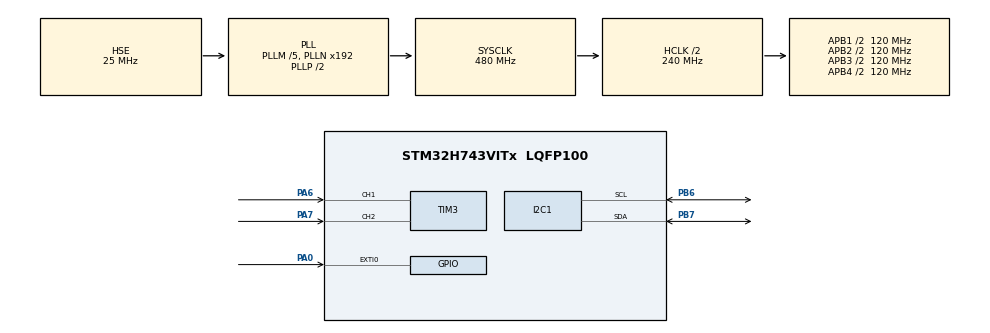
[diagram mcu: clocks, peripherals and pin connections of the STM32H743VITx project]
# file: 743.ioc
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I2C1.Timing=0x307075B1
Mcu.Family=STM32H7
Mcu.Name=STM32H743VITx
Mcu.Package=LQFP100
NVIC.EXTI0_IRQn=true\:7\:0\:true\:false\:true\:true\:true\:true
NVIC.PriorityGroup=NVIC_PRIORITYGROUP_4
NVIC.TIM3_IRQn=true\:0\:0\:true\:false\:true\:true\:true\:true
PA0.GPIO_PuPd=GPIO_PULLUP
PA0.Signal=GPXTI0
PA6.Signal=S_TIM3_CH1
PA7.Signal=S_TIM3_CH2
PB6.Mode=I2C
PB6.Signal=I2C1_SCL
PB7.Mode=I2C
PB7.Signal=I2C1_SDA
PH0-OSC_IN\ (PH0).Mode=HSE-External-Oscillator
PH0-OSC_IN\ (PH0).Signal=RCC_OSC_IN
PH1-OSC_OUT\ (PH1).Mode=HSE-External-Oscillator
PH1-OSC_OUT\ (PH1).Signal=RCC_OSC_OUT
ProjectManager.HeapSize=0x200
ProjectManager.StackSize=0x400
ProjectManager.TargetToolchain=STM32CubeIDE
RCC.ADCFreq_Value=50390625
RCC.APB1Freq_Value=120000000
RCC.APB2Freq_Value=120000000
RCC.APB3Freq_Value=120000000
RCC.APB4Freq_Value=120000000
RCC.CortexFreq_Value=480000000
RCC.D1PPRE=RCC_APB3_DIV2
RCC.D2PPRE1=RCC_APB1_DIV2
RCC.D2PPRE2=RCC_APB2_DIV2
RCC.D3PPRE=RCC_APB4_DIV2
RCC.DIVM1=5
RCC.DIVN1=192
RCC.HCLKFreq_Value=240000000
RCC.HPRE=RCC_HCLK_DIV2
RCC.PLLFRACN=0
RCC.PLLSourceVirtual=RCC_PLLSOURCE_HSE
RCC.SYSCLKFreq_VALUE=480000000
RCC.SYSCLKSource=RCC_SYSCLKSOURCE_PLLCLK
RCC.USBFreq_Value=480000000
SH.S_TIM3_CH1.0=TIM3_CH1,Encoder_Interface
SH.S_TIM3_CH2.0=TIM3_CH2,Encoder_Interface
TIM3.AutoReloadPreload=TIM_AUTORELOAD_PRELOAD_ENABLE
TIM3.EncoderMode=TIM_ENCODERMODE_TI12
TIM3.IC1Filter=10
TIM3.IC2Filter=10
board=custom

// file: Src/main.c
/* USER CODE BEGIN Header */
/**
  ******************************************************************************
  * @file           : main.c
  * @brief          : Main program body
  ******************************************************************************
  * @attention
  *
  * Copyright (c) 2022 STMicroelectronics.
  * All rights reserved.
  *
  * This software is licensed under terms that can be found in the LICENSE file
  * in the root directory of this software component.
  * If no LICENSE file comes with this software, it is provided AS-IS.
  *
  ******************************************************************************
  */
/* USER CODE END Header */
#include "main.h"

/* USER CODE BEGIN Includes */
#include "ssd1306.h"
#include "ssd1306_fonts.h"
#include "si5351.h"
/* USER CODE END Includes */

/* USER CODE BEGIN PD */
#define f_min       6950000      // change to suit
#define f_max       7250000

volatile uint32_t	count1=0;
volatile uint32_t	count2=0;
volatile uint8_t 	flag =0;
volatile uint32_t	vfo = 7030000  ; 	//start freq - change to suit
volatile uint32_t	radix = 100;  		//start step size - change to suit
const	 uint32_t	BW = 2400;			//Change to suit
const	 uint32_t	IF = 12000000;		//Xtal value
const	 uint32_t	bfo=IF-(BW/2);
const 	 int32_t 	correction = 978;	//Adjust with frequency meter for sure.
/* USER CODE END PD */

I2C_HandleTypeDef hi2c1;

TIM_HandleTypeDef htim3;

void SystemClock_Config(void);
static void MX_GPIO_Init(void);
static void MX_I2C1_Init(void);
static void MX_TIM3_Init(void);
/* USER CODE BEGIN PFP */
void HAL_TIM_IC_CaptureCallback(TIM_HandleTypeDef *htim); 		//TIM3 Interupt handler for encoder
void HAL_GPIO_EXTI_Callback(uint16_t GPIO_Pin);					//Interupt handler for Radix (encoder switch)

void display_init(); 		//OLED SSD1306 init & some ugly text :)
void display_radix(); 		//Radix 1Hz, 10HZ,...100KHz
void display_frequency(); 	//Special for display frequency
void Init_Si5351();  		//Init Si5351 & set default frequency for first time
/* USER CODE END PFP */

int main(void)
{

  /* MCU Configuration--------------------------------------------------------*/

  /* Reset of all peripherals, Initializes the Flash interface and the Systick. */
  HAL_Init();

  /* Configure the system clock */
  SystemClock_Config();

  /* Initialize all configured peripherals */
  MX_GPIO_Init();
  MX_I2C1_Init();
  MX_TIM3_Init();
  /* USER CODE BEGIN 2 */
  display_init();
   display_frequency();
   HAL_Delay(100);
   HAL_TIM_Encoder_Start_IT(&htim3, TIM_CHANNEL_ALL); //Start TIM Encoder interupt so the encoder can work
   Init_Si5351();
  /* USER CODE END 2 */

  /* Infinite loop */
  while (1)
  {

  }
}

void SystemClock_Config(void)
{
  RCC_OscInitTypeDef RCC_OscInitStruct = {0};
  RCC_ClkInitTypeDef RCC_ClkInitStruct = {0};

  /** Supply configuration update enable
  */
  HAL_PWREx_ConfigSupply(PWR_LDO_SUPPLY);

  /** Configure the main internal regulator output voltage
  */
  __HAL_PWR_VOLTAGESCALING_CONFIG(PWR_REGULATOR_VOLTAGE_SCALE1);

  while(!__HAL_PWR_GET_FLAG(PWR_FLAG_VOSRDY)) {}

  __HAL_RCC_SYSCFG_CLK_ENABLE();
  __HAL_PWR_VOLTAGESCALING_CONFIG(PWR_REGULATOR_VOLTAGE_SCALE0);

  while(!__HAL_PWR_GET_FLAG(PWR_FLAG_VOSRDY)) {}

  /** Initializes the RCC Oscillators according to the specified parameters
  * in the RCC_OscInitTypeDef structure.
  */
  RCC_OscInitStruct.OscillatorType = RCC_OSCILLATORTYPE_HSE;
  RCC_OscInitStruct.HSEState = RCC_HSE_ON;
  RCC_OscInitStruct.PLL.PLLState = RCC_PLL_ON;
  RCC_OscInitStruct.PLL.PLLSource = RCC_PLLSOURCE_HSE;
  RCC_OscInitStruct.PLL.PLLM = 5;
  RCC_OscInitStruct.PLL.PLLN = 192;
  RCC_OscInitStruct.PLL.PLLP = 2;
  RCC_OscInitStruct.PLL.PLLQ = 2;
  RCC_OscInitStruct.PLL.PLLR = 2;
  RCC_OscInitStruct.PLL.PLLRGE = RCC_PLL1VCIRANGE_2;
  RCC_OscInitStruct.PLL.PLLVCOSEL = RCC_PLL1VCOWIDE;
  RCC_OscInitStruct.PLL.PLLFRACN = 0;
  if (HAL_RCC_OscConfig(&RCC_OscInitStruct) != HAL_OK)
  {
    Error_Handler();
  }

  /** Initializes the CPU, AHB and APB buses clocks
  */
  RCC_ClkInitStruct.ClockType = RCC_CLOCKTYPE_HCLK|RCC_CLOCKTYPE_SYSCLK
                              |RCC_CLOCKTYPE_PCLK1|RCC_CLOCKTYPE_PCLK2
                              |RCC_CLOCKTYPE_D3PCLK1|RCC_CLOCKTYPE_D1PCLK1;
  RCC_ClkInitStruct.SYSCLKSource = RCC_SYSCLKSOURCE_PLLCLK;
  RCC_ClkInitStruct.SYSCLKDivider = RCC_SYSCLK_DIV1;
  RCC_ClkInitStruct.AHBCLKDivider = RCC_HCLK_DIV2;
  RCC_ClkInitStruct.APB3CLKDivider = RCC_APB3_DIV2;
  RCC_ClkInitStruct.APB1CLKDivider = RCC_APB1_DIV2;
  RCC_ClkInitStruct.APB2CLKDivider = RCC_APB2_DIV2;
  RCC_ClkInitStruct.APB4CLKDivider = RCC_APB4_DIV2;

  if (HAL_RCC_ClockConfig(&RCC_ClkInitStruct, FLASH_LATENCY_4) != HAL_OK)
  {
    Error_Handler();
  }
}

static void MX_I2C1_Init(void)
{

  hi2c1.Instance = I2C1;
  hi2c1.Init.Timing = 0x307075B1;
  hi2c1.Init.OwnAddress1 = 0;
  hi2c1.Init.AddressingMode = I2C_ADDRESSINGMODE_7BIT;
  hi2c1.Init.DualAddressMode = I2C_DUALADDRESS_DISABLE;
  hi2c1.Init.OwnAddress2 = 0;
  hi2c1.Init.OwnAddress2Masks = I2C_OA2_NOMASK;
  hi2c1.Init.GeneralCallMode = I2C_GENERALCALL_DISABLE;
  hi2c1.Init.NoStretchMode = I2C_NOSTRETCH_DISABLE;
  if (HAL_I2C_Init(&hi2c1) != HAL_OK)
  {
    Error_Handler();
  }

  /** Configure Analogue filter
  */
  if (HAL_I2CEx_ConfigAnalogFilter(&hi2c1, I2C_ANALOGFILTER_ENABLE) != HAL_OK)
  {
    Error_Handler();
  }

  /** Configure Digital filter
  */
  if (HAL_I2CEx_ConfigDigitalFilter(&hi2c1, 0) != HAL_OK)
  {
    Error_Handler();
  }

}

static void MX_TIM3_Init(void)
{

  TIM_Encoder_InitTypeDef sConfig = {0};
  TIM_MasterConfigTypeDef sMasterConfig = {0};

  htim3.Instance = TIM3;
  htim3.Init.Prescaler = 0;
  htim3.Init.CounterMode = TIM_COUNTERMODE_UP;
  htim3.Init.Period = 65535;
  htim3.Init.ClockDivision = TIM_CLOCKDIVISION_DIV1;
  htim3.Init.AutoReloadPreload = TIM_AUTORELOAD_PRELOAD_ENABLE;
  sConfig.EncoderMode = TIM_ENCODERMODE_TI12;
  sConfig.IC1Polarity = TIM_ICPOLARITY_RISING;
  sConfig.IC1Selection = TIM_ICSELECTION_DIRECTTI;
  sConfig.IC1Prescaler = TIM_ICPSC_DIV1;
  sConfig.IC1Filter = 10;
  sConfig.IC2Polarity = TIM_ICPOLARITY_RISING;
  sConfig.IC2Selection = TIM_ICSELECTION_DIRECTTI;
  sConfig.IC2Prescaler = TIM_ICPSC_DIV1;
  sConfig.IC2Filter = 10;
  if (HAL_TIM_Encoder_Init(&htim3, &sConfig) != HAL_OK)
  {
    Error_Handler();
  }
  sMasterConfig.MasterOutputTrigger = TIM_TRGO_RESET;
  sMasterConfig.MasterSlaveMode = TIM_MASTERSLAVEMODE_DISABLE;
  if (HAL_TIMEx_MasterConfigSynchronization(&htim3, &sMasterConfig) != HAL_OK)
  {
    Error_Handler();
  }

}

static void MX_GPIO_Init(void)
{
  GPIO_InitTypeDef GPIO_InitStruct = {0};

  /* GPIO Ports Clock Enable */
  __HAL_RCC_GPIOH_CLK_ENABLE();
  __HAL_RCC_GPIOA_CLK_ENABLE();
  __HAL_RCC_GPIOB_CLK_ENABLE();

  /*Configure GPIO pin : PA0 */
  GPIO_InitStruct.Pin = GPIO_PIN_0;
  GPIO_InitStruct.Mode = GPIO_MODE_IT_RISING;
  GPIO_InitStruct.Pull = GPIO_PULLUP;
  HAL_GPIO_Init(GPIOA, &GPIO_InitStruct);

  /* EXTI interrupt init*/
  HAL_NVIC_SetPriority(EXTI0_IRQn, 7, 0);
  HAL_NVIC_EnableIRQ(EXTI0_IRQn);

}

/* USER CODE BEGIN 4 */
void display_init() {

  ssd1306_Init();
  HAL_Delay(100);

  ssd1306_SetCursor(0, 50);
  ssd1306_WriteString("UglyDD5", Font_7x10, White); // change this if you want it :)
  HAL_Delay(100);
  ssd1306_SetCursor(0, 0);

  display_frequency();
  display_radix();
  HAL_Delay(100);
  ssd1306_UpdateScreen(); //need this function to update new buffer. Without this, the old one still exist
  HAL_Delay(100);
}

void HAL_TIM_IC_CaptureCallback(TIM_HandleTypeDef *htim) {

  count1= (__HAL_TIM_GET_COUNTER(htim))/4; //smooth the counter from 4 step to 1

  	if (count2>count1) 		//Down counter. If count2 > count1, vfo-= radix
  			vfo -= radix;
   	if (vfo <= f_min)		//Check if vfo <= f_min. If YES, Force the value = f_min although someone down the counter till tomorrow
  	  		vfo = f_min;
  	if(count2<count1)		//Up Counter. If count2 < count1, vfo += radix
  			vfo += radix;
  	if (vfo >= f_max)		//Check if vfo >= f_max. If YES, don't let someone go high >=f_max!
  	  		vfo = f_max;

  count2=count1;		//Running in circles, coming up tails..Heads on a science apart -The Scientist

  display_frequency();

  si5351_SetupCLK0((bfo-vfo), SI5351_DRIVE_STRENGTH_4MA);	//Update the value

}
//See https://michaeldaranto.com/2022/11/11/stm32-integer-to-char/
//We need to convert from integer value to char. Module & integer division are our weapons
void Int2Char(uint32_t f){
	__disable_irq();
	char g[11];
	  g[0]= ((f % 1000000000) / 100000000);
	  g[1]= ((f % 100000000) / 10000000);
      g[2]= ((f % 10000000) / 1000000);
      g[3]= -2;											//Nice trick for "."
      g[4]= ((f % 1000000) / 100000);
      g[5]= ((f % 100000) / 10000);
      g[6]= ((f % 10000) / 1000);
      g[7]= -2;
      g[8]= ((f % 1000) / 100);
      g[9]= ((f % 100) / 10);
      g[10]= ((f % 10) / 1);

    uint8_t count=0;
    while(f!=0) {										//just divide the value with 10 again & again to know the digits
      		  f=f/10;
      		  count++;
      		}

    for (uint8_t i =(9-count); i<11; i++){				//tell me why (9-count)? :)
    	ssd1306_WriteChar(g[i]+48, Font_11x18, White);	//48 --> the magic number for decimal ASCII
      }
    __enable_irq();
}
//Correction value depend on Si5351's device. Please check with frequency meter first. The perfect one just need zero :)
//Hot & cold weather will interfere with correction value. Nothing is perfect. 978 is the original value from Alex.
void Init_Si5351(){

    	si5351_Init(correction);
       	si5351_SetupCLK0((bfo-vfo), SI5351_DRIVE_STRENGTH_4MA);
       	si5351_SetupCLK2(bfo, SI5351_DRIVE_STRENGTH_4MA);
       	si5351_EnableOutputs((1<<0) | (1<<2));
}

//Maybe you want to change this value. Ex start from 100 to 10MHz
void display_radix(){

	ssd1306_SetCursor(78, 50);

	switch (radix) {
    case 1:
    	ssd1306_WriteString("    1", Font_7x10, White);
           break;
    case 10:
    	ssd1306_WriteString("   10", Font_7x10, White);
           break;
    case 100:
    	ssd1306_WriteString("  100", Font_7x10, White);
           break;
    case 1000:
    	ssd1306_WriteString("   1k", Font_7x10, White);
           break;
    case 10000:
    	ssd1306_WriteString("  10k", Font_7x10, White);
           break;
    case 100000:
    	ssd1306_WriteString(" 100k", Font_7x10, White);
           break;
 }

   	ssd1306_WriteString("Hz", Font_7x10, White);
   	ssd1306_UpdateScreen();
}

//If you want to write something in OLED, don't forget to update screen. This function just for the frequency update @OLED.
//SSD1306 don't understand Integer value so we need to convert from integer value to Char
//The vfo value = frequency value @OLED ex 7.070.000.
void display_frequency(){

	ssd1306_SetCursor(0, 0);
	Int2Char(vfo);
	ssd1306_UpdateScreen();
}

//Without delay, the switch will bounce. But where is the HAL_Delay? Don't put here, please put at stm32f4xx_it.c
void HAL_GPIO_EXTI_Callback(uint16_t GPIO_Pin) {

  if(GPIO_Pin == GPIO_PIN_0) {

	  switch (radix) {
	 	  	        case 1:
	 	  	          radix = 10;
	 	  	          break;
	 	  	        case 10:
	 	  	          radix = 100;
	 	  	          break;
	 	  	        case 100:
	 	  	          radix = 1000;
	 	  	          break;
	 	  	        case 1000:
	 	  	          radix = 10000;
	 	  	          break;
	 	  	        case 10000:
	 	  	          radix = 100000;
	 	  	          break;
	 	  	        case 100000:
	 	  	          radix = 1;
	 	  	          break;
	 	  	      }
	  display_radix();

  } else {
      __NOP();
  }
}
/* USER CODE END 4 */

void Error_Handler(void)
{
  __disable_irq();
  while (1)
  {
  }
}
